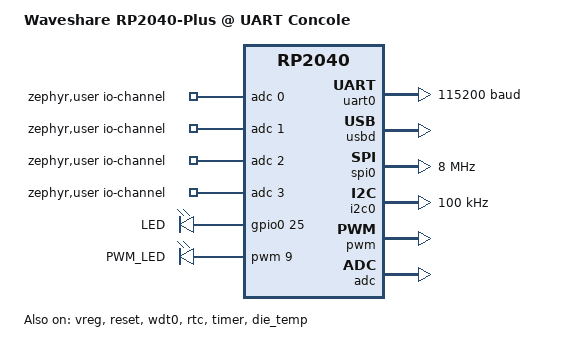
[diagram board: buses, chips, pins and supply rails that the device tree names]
/*
 * SPDX-FileCopyrightText: Copyright (c) 2023-2026 TiaC Systems
 * SPDX-License-Identifier: Apache-2.0
 */

/dts-v1/;

#include <freq.h>
#include <mem.h>

#include <raspberrypi/rpi_pico/rp2040.dtsi>

#include <zephyr/dt-bindings/clock/rpi_pico_rp2040_clock.h>
#include <zephyr/dt-bindings/regulator/rpi_pico.h>

#include <zephyr/dt-bindings/gpio/gpio.h>
#include <zephyr/dt-bindings/i2c/i2c.h>
#include <zephyr/dt-bindings/led/led.h>
#include <zephyr/dt-bindings/pwm/pwm.h>

#include "raspberrypi_pico_connector.dtsi"
#include "raspberrypi_pico_r3_connector.dtsi"
#include "waveshare_rp2040_plus-pinctrl.dtsi"

/ {
	model = "Waveshare RP2040-Plus @ UART Concole";
	compatible = "waveshare,rp2040-plus", "waveshare,rp2040-plus-uartcons";

	chosen {
		zephyr,sram = &sram0;
		zephyr,flash = &flash0;
		zephyr,flash-controller = &ssi;
		zephyr,code-partition = &code_partition;
		zephyr,console = &uart0;
		zephyr,shell-uart = &uart0;
	};

	aliases {
		watchdog0 = &wdt0;
		led0 = &led0;
		pwm-led0 = &pwm_led0;
	};

	zephyr,user {
		io-channels = <&adc 0>, <&adc 1>, <&adc 2>, <&adc 3>;
	};

	gpio_leds: gpio_leds {
		compatible = "gpio-leds";

		led0: led_0 {
			gpios = <&gpio0 25 GPIO_ACTIVE_HIGH>;
			label = "LED";
		};
	};

	pwm_leds: pwm_leds {
		compatible = "pwm-leds";

		pwm_led0: pwm_led_0 {
			pwms = <&pwm 9 PWM_MSEC(20) PWM_POLARITY_NORMAL>;
			label = "PWM_LED";
		};
	};
};

&flash0 {
	status = "okay";
};

&clocks {
	status = "okay";
	pinctrl-0 = <&clocks_default>;
	pinctrl-names = "default";
};

&vreg {
	status = "okay";
	regulator-always-on;
	regulator-allowed-modes = <REGULATOR_RPI_PICO_MODE_NORMAL>;
};

&reset {
	status = "okay";
};

&wdt0 {
	status = "okay";
};

&rtc {
	status = "okay";
	clocks = <&clocks RPI_PICO_CLKID_CLK_RTC>;
};

&timer {
	status = "okay";
};

&dma {
	status = "okay";
};

&die_temp {
	status = "okay";
	friendly-name = "RP2040 chip temperature";
};

&uart0 {
	status = "okay";
	pinctrl-0 = <&uart0_default>;
	pinctrl-names = "default";
	current-speed = <115200>;
};

zephyr_udc0: &usbd {
	status = "okay";
};

&spi0 {
	status = "okay";
	pinctrl-0 = <&spi0_pico_default>;
	pinctrl-names = "default";
	clock-frequency = <DT_FREQ_M(8)>;
};

&spi1 {
	status = "disabled";
	pinctrl-0 = <&spi1_pico>;
	pinctrl-names = "default";
	clock-frequency = <DT_FREQ_M(8)>;
};

&i2c0 {
	status = "okay";
	pinctrl-0 = <&i2c0_pico_default>;
	pinctrl-names = "default";
	clock-frequency = <I2C_BITRATE_STANDARD>;
};

&i2c1 {
	status = "disabled";
	pinctrl-0 = <&i2c1_pico_default>;
	pinctrl-names = "default";
	clock-frequency = <I2C_BITRATE_STANDARD>;
};

&pwm {
	status = "okay";
	pinctrl-0 = <&pwm_pico_default>;
	pinctrl-names = "default";
	divider-int-4 = <255>;	/* led: PWM4CHB (9) */
};

&adc {
	status = "okay";
	pinctrl-0 = <&adc_default>;
	pinctrl-names = "default";
};

&gpio0 {
	status = "okay";
	/* namespace and positions without wired bits */
	gpio-line-names =
		"TX0",			/* GP0 */
		"TX1",			/* GP1 */
		"GP2_PWM2_CTS0",	/* GP2 */
		"GP3_PWM3_RTS0",	/* GP3 */
		"SDA0",			/* GP4 */
		"SCL0",			/* GP5 */
		"GP6_PWM6",		/* GP6 */
		"GP7_PWM7",		/* GP7 */
		"GP8_PWM8",		/* GP8 */
		"GP9_PWM9_CSN1",	/* GP9 */
		"GP10_PWM10_SCK1",	/* GP10 */
		"GP11_PWM11_SDO1",	/* GP11 */
		"GP12_PWM12_SDI1",	/* GP12 */
		"GP13_PWM13",		/* GP13 */
		"GP14_PWM14_SDA1",	/* GP14 */
		"GP15_PWM15_SCL1",	/* GP15 */
		"SDI0",			/* GP16 */
		"CSN0",			/* GP17 */
		"SCK0",			/* GP18 */
		"SDO0",			/* GP19 */
		"GP20_PWM4",		/* GP20 */
		"GP21_PWM5",		/* GP21 */
		"GP22_PWM6",		/* GP22 */
		"PSU_SMPS_PWM7",	/* GP23 */
		"PSU_VBUS/1.51",	/* GP24 */
		"ULED0_PWM9",		/* GP25 */
		"ADC0",			/* GP26 */
		"ADC1",			/* GP27 */
		"ADC2",			/* GP28 */
		"PSU_ADC3_VSYS/3";	/* GP29 */
};
